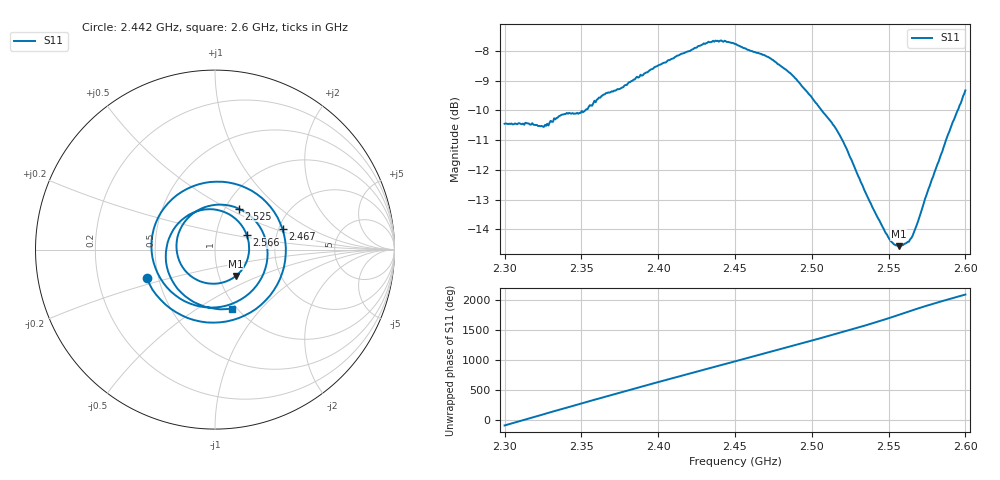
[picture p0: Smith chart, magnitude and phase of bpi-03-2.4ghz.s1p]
! NanoVNA-App
! Date: 2026-05-22 17:53:05
! Start: 2.3GHz Stop: 2.6GHz Points: 401
! S-Parameter data: F S11
# Hz S RI R 50
!  Frequency  S11_Real  S11_Imag
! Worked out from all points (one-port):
!   401 points, 2.3 GHz to 2.6 GHz, reference 50 ohm
!   lowest |S11| = -14.6 dB at 2.557 GHz (marker M1), VSWR 1.46, Z = 60 - j18.3 ohm
!   |S11| at or under -10 dB: start of sweep to 2.353 GHz; 2.506 GHz to 2.595 GHz (88.59 MHz wide, 3.47 % of centre)
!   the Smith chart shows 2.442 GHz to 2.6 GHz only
!   S11 on the Smith chart (normalised r, x): 2.442 GHz: 0.43, -0.16; 2.467 GHz: 2.10, +0.57; 2.525 GHz: 1.16, +0.57; 2.566 GHz: 1.41, +0.24; 2.6 GHz: 0.95, -0.71
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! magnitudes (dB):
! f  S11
! 2.3 GHz  -10.5
! 2.315 GHz  -10.4
! 2.325 GHz  -10.6
! 2.337 GHz  -10.1
! 2.351 GHz  -10.1
! 2.365 GHz  -9.5
! 2.375 GHz  -9.3
! 2.399 GHz  -8.5
! 2.413 GHz  -8.2
! 2.431 GHz  -7.7
! 2.442 GHz  -7.7
! 2.45 GHz  -7.8
! 2.467 GHz  -8.1
! 2.475 GHz  -8.3
! 2.487 GHz  -8.8
! 2.514 GHz  -10.5
! 2.52 GHz  -11.0
! 2.525 GHz  -11.6
! 2.535 GHz  -12.8
! 2.547 GHz  -14.0
! 2.552 GHz  -14.4
! 2.557 GHz  -14.6
! 2.562 GHz  -14.4
! 2.566 GHz  -14.2
! 2.568 GHz  -13.8
! 2.575 GHz  -12.7
! 2.589 GHz  -10.8
! 2.6 GHz  -9.3
